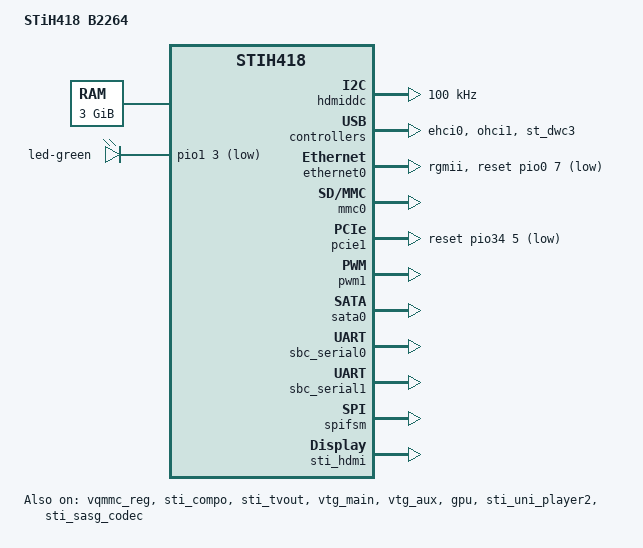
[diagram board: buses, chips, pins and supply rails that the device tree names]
// SPDX-License-Identifier: GPL-2.0-only
/*
 * Copyright (C) 2021 STMicroelectronics
 * Author: Alain Volmat <avolmat@me.com>
 */
/dts-v1/;
#include "stih418.dtsi"
#include <dt-bindings/gpio/gpio.h>
/ {
	model = "STiH418 B2264";
	compatible = "st,stih418-b2264", "st,stih418";

	chosen {
		stdout-path = &sbc_serial0;
	};

	memory@40000000 {
		device_type = "memory";
		reg = <0x40000000 0xc0000000>;
	};

	cpus {
		cpu@0 {
			operating-points-v2 = <&cpu_opp_table>;
			/* u-boot puts hpen in SBC dmem at 0xb8 offset */
			cpu-release-addr = <0x94100b8>;
		};
		cpu@1 {
			operating-points-v2 = <&cpu_opp_table>;
			/* u-boot puts hpen in SBC dmem at 0xb8 offset */
			cpu-release-addr = <0x94100b8>;
		};
		cpu@2 {
			operating-points-v2 = <&cpu_opp_table>;
			/* u-boot puts hpen in SBC dmem at 0xb8 offset */
			cpu-release-addr = <0x94100b8>;
		};
		cpu@3 {
			operating-points-v2 = <&cpu_opp_table>;
			/* u-boot puts hpen in SBC dmem at 0xb8 offset */
			cpu-release-addr = <0x94100b8>;
		};
	};

	cpu_opp_table: opp-table {
		compatible = "operating-points-v2";
		opp-shared;

		opp00 {
			opp-hz = /bits/ 64 <300000000>;
			opp-microvolt = <784000>;
		};
		opp01 {
			opp-hz = /bits/ 64 <500000000>;
			opp-microvolt = <784000>;
		};
		opp02 {
			opp-hz = /bits/ 64 <800000000>;
			opp-microvolt = <784000>;
		};
		opp03 {
			opp-hz = /bits/ 64 <1200000000>;
			opp-microvolt = <784000>;
		};
	};

	aliases {
		serial0 = &sbc_serial0;
		serial1 = &sbc_serial1;
		ethernet0 = &ethernet0;
	};

	sound: sound {
		compatible = "simple-audio-card";
		simple-audio-card,name = "STI-B2264";
		status = "okay";
		#address-cells = <1>;
		#size-cells = <0>;

		simple-audio-card,dai-link@0 {
			reg = <0>;
			/* DAC */
			format = "i2s";
			mclk-fs = <256>;
			frame-inversion;
			cpu {
				sound-dai = <&sti_uni_player2>;
			};

			codec {
				sound-dai = <&sti_sasg_codec 1>;
			};
		};
	};

	leds {
		compatible = "gpio-leds";
		led-green {
			gpios = <&pio1 3 GPIO_ACTIVE_LOW>;
			default-state = "off";
		};
	};

	soc {
		pin-controller-sbc@961f080 {
			gmac1 {
				rgmii1-0 {
					st,pins {
						rxd0 = <&pio1 4 ALT1 IN DE_IO 300 CLK_A>;
						rxd1 = <&pio1 5 ALT1 IN DE_IO 300 CLK_A>;
						rxd2 = <&pio1 6 ALT1 IN DE_IO 300 CLK_A>;
						rxd3 = <&pio1 7 ALT1 IN DE_IO 300 CLK_A>;
						rxdv = <&pio2 0 ALT1 IN DE_IO 300 CLK_A>;
					};
				};
			};
		};

		hdmiddc: i2c@9541000 {
			/* HDMI V1.3a supports Standard mode only */
			clock-frequency = <100000>;
			st,i2c-min-scl-pulse-width-us = <0>;
			st,i2c-min-sda-pulse-width-us = <5>;

			status = "okay";
		};
	};
};

&ehci0 {
	status = "okay";
};

&ethernet0 {
	phy-mode = "rgmii";
	pinctrl-0 = <&pinctrl_rgmii1 &pinctrl_rgmii1_mdio_1>;
	st,tx-retime-src = "clkgen";

	snps,reset-gpio = <&pio0 7 0>;
	snps,reset-active-low;
	snps,reset-delays-us = <0 10000 1000000>;

	status = "okay";
};

&miphy28lp_phy {
	phy_port0: port@9b22000 {
		st,sata-gen = <2>; /* SATA GEN3 */
		st,osc-rdy;
	};
	phy_port1: port@9b2a000 {
		st,osc-force-ext;
	};
};

&vqmmc_reg {
	status = "okay";
};

&mmc0 {
	status = "okay";
};

&ohci1 {
	status = "okay";
};

&pcie1 {
	reset-gpios = <&pio34 5 GPIO_ACTIVE_LOW>;
	status = "okay";
};

&pwm1 {
	status = "okay";
};

&sata0 {
	status = "okay";
};

&sbc_serial0 {
	status = "okay";
};

&sbc_serial1 {
	status = "okay";
};

&spifsm {
	status = "okay";
	partitions {
		compatible = "fixed-partitions";
		#address-cells = <1>;
		#size-cells = <1>;

		partition@0 {
			label = "PBL"; /* 768Ko */
			reg = < 0x0 0xc0000 >;
			read-only;
		};

		partition@1 {
			label = "u-boot-env"; /* 64Ko */
			reg = < 0xc0000 0x10000 >;
		};

		partition@2 {
			label = "mac-address-eth0"; /* 192Ko */
			reg = < 0xd0000 0x30000 >;
			read-only;
		};

		partition@3 {
			label = "FIT"; /* 31 Mo */
			reg = < 0x100000 0x1F00000 >;
		};
	};
};

&st_dwc3 {
	status = "okay";
};

&sti_compo {
	status = "okay";
};

&sti_tvout {
	status = "okay";
};

&sti_hdmi {
	ddc = <&hdmiddc>;

	status = "okay";
};

&vtg_main {
	status = "okay";
};

&vtg_aux {
	status = "okay";
};

&gpu {
	status = "okay";
};

&sti_uni_player2 {
	status = "okay";
};

&sti_sasg_codec {
	status = "okay";
};
